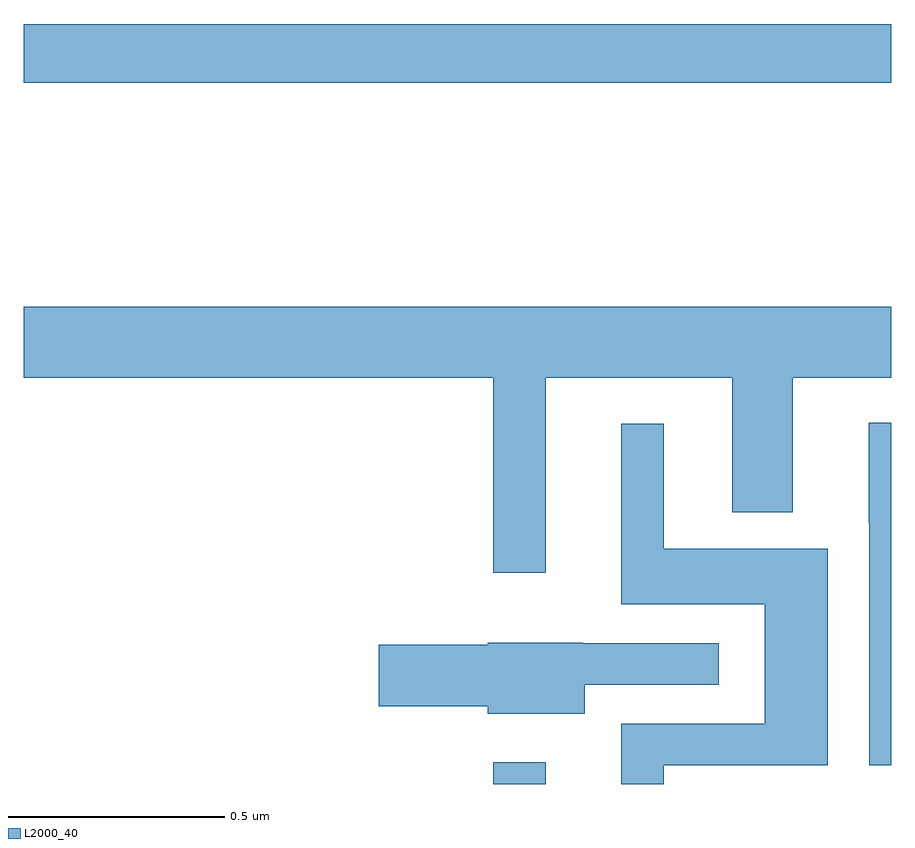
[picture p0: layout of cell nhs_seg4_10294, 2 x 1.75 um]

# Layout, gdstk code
import gdstk
lib = gdstk.Library(unit=1e-6, precision=1e-09)
def R(c, l, rs):  # rectangles x0, y0, x1, y1
    for r in rs: c.add(gdstk.rectangle(r[:2], r[2:], *l))
def P(c, l, *ps):  # polygons
    for p in ps: c.add(gdstk.Polygon(p, *l))
L2000_40 = (2000, 40)

nhs_seg4_10294 = lib.new_cell('nhs_seg4_10294')
R(nhs_seg4_10294, L2000_40, [(239.082,779.9,239.203,779.95), (238,781.516,240,781.652)])
P(nhs_seg4_10294, L2000_40, [(239.203,780.836),(239.633,780.836),(239.633,780.527),(239.773,780.527),(239.773,780.836),(240,780.836),(240,781),(238,781),(238,780.836),(239.082,780.836),(239.082,780.387),(239.203,780.387)],
  [(240,780.733),(239.948,780.733),(239.948,780.502),(239.949,780.502),(239.949,779.943),(240,779.943)],
  [(239.476,779.943),(239.854,779.943),(239.854,780.442),(239.476,780.442),(239.476,780.73),(239.378,780.73),(239.378,780.314),(239.708,780.314),(239.708,780.039),(239.378,780.039),(239.378,779.9),(239.476,779.9)],
  [(239.293,780.129),(239.602,780.129),(239.602,780.225),(239.289,780.225),(239.289,780.226),(239.07,780.226),(239.07,780.221),(238.818,780.221),(238.818,780.079),(239.07,780.079),(239.07,780.062),(239.293,780.062)])

lib.write_gds('nhs_seg4_10294.gds')
